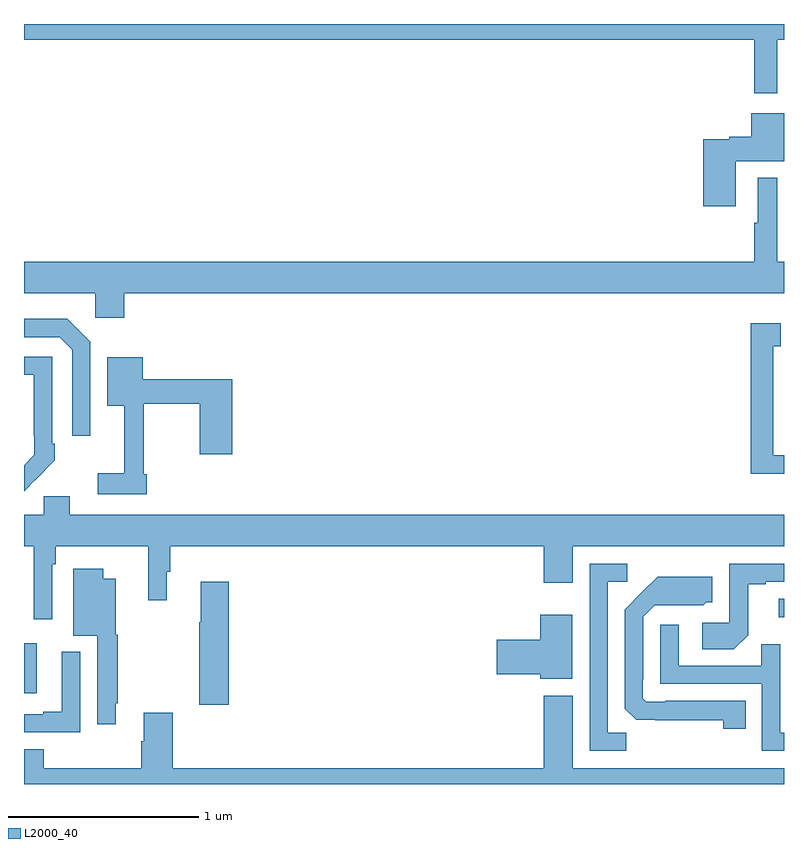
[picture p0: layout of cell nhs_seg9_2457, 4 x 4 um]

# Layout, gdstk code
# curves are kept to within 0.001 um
import gdstk
lib = gdstk.Library(unit=1e-6, precision=1e-09)
def R(c, l, rs):  # rectangles x0, y0, x1, y1
    for r in rs: c.add(gdstk.rectangle(r[:2], r[2:], *l))
def P(c, l, *ps):  # polygons
    for p in ps: c.add(gdstk.Polygon(p, *l))
L2000_40 = (2000, 40)

nhs_seg9_2457 = lib.new_cell('nhs_seg9_2457')
R(nhs_seg9_2457, L2000_40, [(251,1196.978,251.068,1197.241), (254.973,1197.377,255,1197.474)])
P(nhs_seg9_2457, L2000_40, [(254.965,1200.416),(255,1200.416),(255,1200.5),(251,1200.5),(251,1200.416),(254.844,1200.416),(254.844,1200.135),(254.965,1200.135)],
  [(254.746,1199.777),(255,1199.777),(255,1200.031),(254.828,1200.031),(254.828,1199.906),(254.712,1199.906),(254.712,1199.893),(254.576,1199.893),(254.576,1199.541),(254.746,1199.541)],
  [(251.528,1199.084),(255,1199.084),(255,1199.248),(254.965,1199.248),(254.965,1199.692),(254.861,1199.692),(254.861,1199.453),(254.844,1199.453),(254.844,1199.248),(251,1199.248),(251,1199.084),(251.376,1199.084),(251.376,1198.953),(251.528,1198.953)],
  [(251.349,1198.827),(251.228,1198.948),(251,1198.948),(251,1198.851),(251.187,1198.851),(251.253,1198.785),(251.253,1198.332),(251.349,1198.332)],
  [(255,1198.23),(254.944,1198.23),(254.944,1198.803),(254.983,1198.803),(254.983,1198.924),(254.826,1198.924),(254.826,1198.133),(255,1198.133)],
  [(251.057,1198.099),(251.058,1198.098),(251.163,1198.203),(251.163,1198.291),(251.148,1198.291),(251.148,1198.749),(251,1198.749),(251,1198.653),(251.052,1198.653),(251.052,1198.333),(251.055,1198.333),(251.055,1198.233),(251,1198.178),(251,1198.042)],
  [(251.645,1198.129),(251.63,1198.129),(251.63,1198.501),(251.924,1198.501),(251.924,1198.236),(252.095,1198.236),(252.095,1198.63),(251.626,1198.63),(251.626,1198.747),(251.438,1198.747),(251.438,1198.49),(251.528,1198.49),(251.528,1198.135),(251.388,1198.135),(251.388,1198.026),(251.645,1198.026)],
  [(251.148,1197.656),(251.168,1197.656),(251.168,1197.752),(251.653,1197.752),(251.653,1197.468),(251.752,1197.468),(251.752,1197.618),(251.771,1197.618),(251.771,1197.752),(253.736,1197.752),(253.736,1197.558),(253.888,1197.558),(253.888,1197.752),(255,1197.752),(255,1197.916),(251.242,1197.916),(251.242,1198.014),(251.103,1198.014),(251.103,1197.916),(251,1197.916),(251,1197.752),(251.051,1197.752),(251.051,1197.366),(251.148,1197.366)],
  [(254.811,1197.284),(254.811,1197.552),(254.905,1197.552),(254.905,1197.564),(255,1197.564),(255,1197.66),(254.712,1197.66),(254.712,1197.348),(254.571,1197.348),(254.571,1197.208),(254.735,1197.208)],
  [(254.169,1196.771),(254.073,1196.771),(254.073,1197.564),(254.176,1197.564),(254.176,1197.66),(253.977,1197.66),(253.977,1196.676),(254.169,1196.676)],
  [(251.482,1196.926),(251.494,1196.926),(251.494,1197.285),(251.482,1197.285),(251.482,1197.58),(251.416,1197.58),(251.416,1197.634),(251.258,1197.634),(251.258,1197.281),(251.385,1197.281),(251.385,1196.814),(251.482,1196.814)],
  [(254.798,1196.937),(254.374,1196.937),(254.374,1196.934),(254.274,1196.934),(254.256,1196.952),(254.256,1197.052),(254.259,1197.052),(254.259,1197.381),(254.319,1197.441),(254.576,1197.44),(254.592,1197.456),(254.623,1197.456),(254.623,1197.592),(254.335,1197.592),(254.163,1197.418),(254.163,1196.896),(254.222,1196.837),(254.68,1196.836),(254.68,1196.79),(254.798,1196.79)],
  [(252.077,1197.565),(251.93,1197.565),(251.93,1197.352),(251.923,1197.352),(251.923,1196.916),(252.077,1196.916)],
  [(253.885,1197.391),(253.718,1197.391),(253.718,1197.26),(253.488,1197.26),(253.488,1197.077),(253.718,1197.077),(253.718,1197.053),(253.885,1197.053)],
  [(255,1196.769),(254.979,1196.769),(254.979,1197.236),(254.881,1197.236),(254.881,1197.123),(254.445,1197.123),(254.445,1197.337),(254.349,1197.337),(254.349,1197.027),(254.883,1197.027),(254.883,1196.676),(255,1196.676)],
  [(251.295,1197.196),(251.198,1197.196),(251.198,1196.881),(251.102,1196.881),(251.102,1196.868),(251,1196.868),(251,1196.772),(251.295,1196.772)],
  [(255,1196.584),(253.888,1196.584),(253.888,1196.965),(253.736,1196.965),(253.736,1196.584),(251.783,1196.584),(251.783,1196.875),(251.63,1196.875),(251.63,1196.726),(251.618,1196.726),(251.618,1196.584),(251.105,1196.584),(251.105,1196.682),(251,1196.682),(251,1196.5),(255,1196.5)])

lib.write_gds('nhs_seg9_2457.gds')
